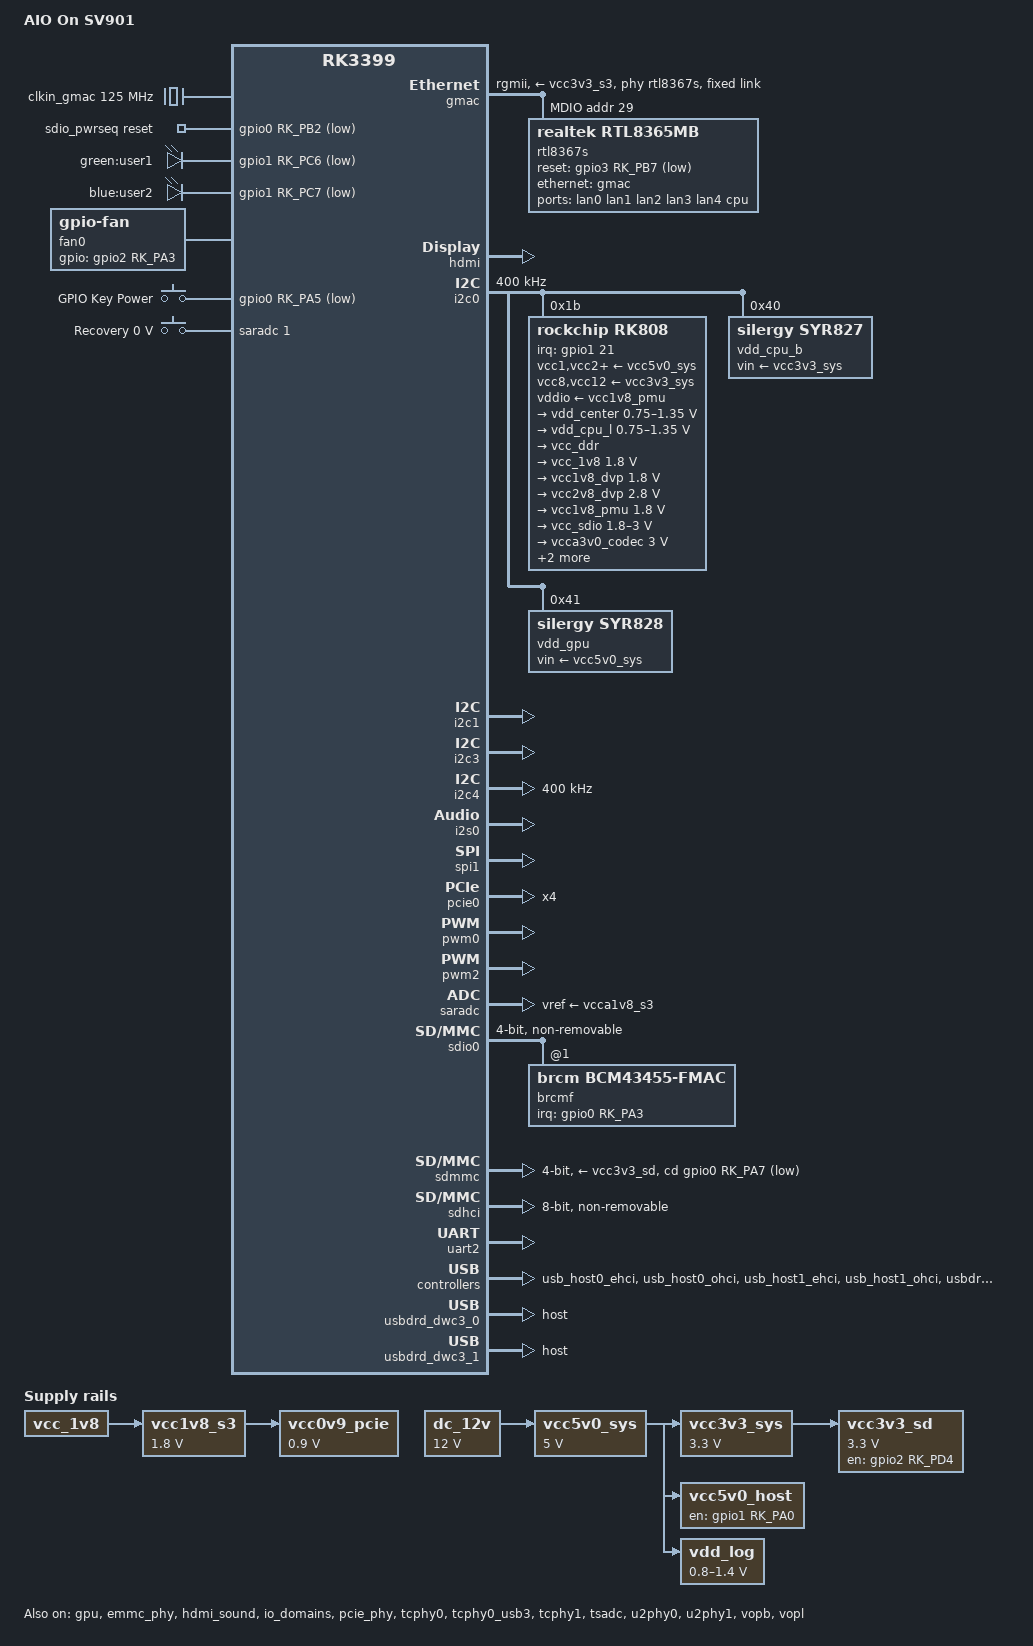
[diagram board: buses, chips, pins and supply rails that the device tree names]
// SPDX-License-Identifier: (GPL-2.0+ OR MIT)
/dts-v1/;

#include <dt-bindings/pwm/pwm.h>
#include <dt-bindings/input/input.h>
#include <dt-bindings/usb/pd.h>
#include "rk3399.dtsi"

/ {
	model = "AIO On SV901";
	compatible = "rockchip,rk3399";

	aliases {
		ethernet0 = &gmac;
		mmc0 = &sdio0;
		mmc1 = &sdmmc;
		mmc2 = &sdhci;
	};

	chosen {
		stdout-path = "serial2:1500000n8";
	};

	clkin_gmac: external-gmac-clock {
		compatible = "fixed-clock";
		clock-frequency = <125000000>;
		clock-output-names = "clkin_gmac";
		#clock-cells = <0>;
	};

	dc_12v: regulator-dc-12v {
		compatible = "regulator-fixed";
		regulator-name = "dc_12v";
		regulator-always-on;
		regulator-boot-on;
		regulator-min-microvolt = <12000000>;
		regulator-max-microvolt = <12000000>;
	};

	sdio_pwrseq: sdio-pwrseq {
		compatible = "mmc-pwrseq-simple";
		clocks = <&rk808 1>;
		clock-names = "ext_clock";
		pinctrl-names = "default";
		pinctrl-0 = <&wifi_reg_on_h>;
		reset-gpios = <&gpio0 RK_PB2 GPIO_ACTIVE_LOW>; // sch verify
	};

	/* switched by pmic_sleep */
	vcc1v8_s3: vcca1v8_s3: regulator-vcc1v8-s3 {
		compatible = "regulator-fixed";
		regulator-name = "vcc1v8_s3";
		regulator-always-on;
		regulator-boot-on;
		regulator-min-microvolt = <1800000>;
		regulator-max-microvolt = <1800000>;
		vin-supply = <&vcc_1v8>;
	};

	// fixed pcie power_supply
	vcc0v9_pcie: regulator-vcc0v9-pcie {
		compatible = "regulator-fixed";
		regulator-min-microvolt = <900000>;
		regulator-max-microvolt = <900000>;
		regulator-name = "vcc0v9_pcie";
		vin-supply = <&vcc1v8_s3>;
	};

	vcc3v3_sd: regulator-vcc3v0-sd {
		compatible = "regulator-fixed";
		enable-active-high;
		gpio = <&gpio2 RK_PD4 GPIO_ACTIVE_HIGH>; // sch verify
		pinctrl-names = "default";
		pinctrl-0 = <&sdmmc0_pwr_h>;
		regulator-boot-on;
		regulator-max-microvolt = <3300000>;
		regulator-min-microvolt = <3300000>;
		regulator-name = "vcc3v3_sd";
		vin-supply = <&vcc3v3_sys>;
	};

	// 3.3v output by core board.
	vcc3v3_sys: regulator-vcc3v3-sys {
		compatible = "regulator-fixed";
		regulator-name = "vcc3v3_sys";
		regulator-always-on;
		regulator-boot-on;
		regulator-min-microvolt = <3300000>;
		regulator-max-microvolt = <3300000>;
		vin-supply = <&vcc5v0_sys>;
	};

	vcc5v0_host: regulator-vcc5v0-host {
		compatible = "regulator-fixed";
		enable-active-high;
		gpio = <&gpio1 RK_PA0 GPIO_ACTIVE_HIGH>; // bsp
		pinctrl-names = "default";
		pinctrl-0 = <&vcc5v0_host_en>;
		regulator-name = "vcc5v0_host";
		regulator-always-on;
		vin-supply = <&vcc5v0_sys>;
	};

	vcc5v0_sys: regulator-vcc5v0-sys {
		compatible = "regulator-fixed";
		regulator-name = "vcc5v0_sys";
		regulator-always-on;
		regulator-boot-on;
		regulator-min-microvolt = <5000000>;
		regulator-max-microvolt = <5000000>;
		vin-supply = <&dc_12v>;
	};

	vdd_log: vdd-log {
		compatible = "pwm-regulator";
		pwms = <&pwm2 0 25000 1>;
		regulator-name = "vdd_log";
		regulator-always-on;
		regulator-boot-on;
		regulator-min-microvolt = <800000>;
		regulator-max-microvolt = <1400000>;
		vin-supply = <&vcc5v0_sys>;
	};

	leds: gpio-leds {
		compatible = "gpio-leds";
		pinctrl-names = "default";
		pinctrl-0 = <&user_led1>, <&user_led2>;

		user_led1 {
			label = "green:user1";
			gpios = <&gpio1 RK_PC6 GPIO_ACTIVE_LOW>;
			linux,default-trigger = "heartbeat";
		};

		user_led2 {
			label = "blue:user2";
			gpios = <&gpio1 RK_PC7 GPIO_ACTIVE_LOW>;
			linux,default-trigger = "mmc2";
		};
	};

	fan0: gpio-fan {
		#cooling-cells = <2>;
		compatible = "gpio-fan";
		gpio-fan,speed-map = <0 0 3000 1>;
		gpios = <&gpio2 RK_PA3 GPIO_ACTIVE_HIGH>; // sch
		status = "okay";
	};

	gpio-keys {
		compatible = "gpio-keys";
		autorepeat;
		pinctrl-names = "default";
		pinctrl-0 = <&power_key>;

		key-power {
			debounce-interval = <100>;
			gpios = <&gpio0 RK_PA5 GPIO_ACTIVE_LOW>;
			label = "GPIO Key Power";
			linux,code = <KEY_POWER>;
			wakeup-source;
		};
	};

	adc-keys {
		compatible = "adc-keys";
		io-channels = <&saradc 1>;
		io-channel-names = "buttons";
		keyup-threshold-microvolt = <1750000>;
		poll-interval = <100>;

		recovery {
			label = "Recovery";
			linux,code = <KEY_VENDOR>;
			press-threshold-microvolt = <0>;
		};
	};

};

&cpu_l0 {
	cpu-supply = <&vdd_cpu_l>;
};

&cpu_l1 {
	cpu-supply = <&vdd_cpu_l>;
};

&cpu_l2 {
	cpu-supply = <&vdd_cpu_l>;
};

&cpu_l3 {
	cpu-supply = <&vdd_cpu_l>;
};

&cpu_b0 {
	cpu-supply = <&vdd_cpu_b>;
};

&cpu_b1 {
	cpu-supply = <&vdd_cpu_b>;
};

&gpu {
	mali-supply = <&vdd_gpu>;
	status = "okay";
};

&cpu_thermal { // verify
	trips {
		cpu_hot: cpu_hot {
			hysteresis = <10000>;
			temperature = <55000>;
			type = "active";
		};
	};

	cooling-maps {
		map2 {
			cooling-device = <&fan0 THERMAL_NO_LIMIT THERMAL_NO_LIMIT>;
			trip = <&cpu_hot>;
		};
	};
};

&emmc_phy {
	status = "okay";
};

&gmac {
	assigned-clocks = <&cru SCLK_RMII_SRC>;
	// assigned-clock-parents = <&clkin_gmac>;
	// clock_in_out = "input";
	phy-supply = <&vcc3v3_s3>;
	phy-mode = "rgmii";
	phy-handle = <&rtl8367s>;
	pinctrl-names = "default";
	pinctrl-0 = <&rgmii_pins>;
	tx_delay = <0x28>;
	rx_delay = <0x11>;
	status = "okay";

	assigned-clock-parents = <&cru SCLK_MAC>;
	assigned-clock-rates = <125000000>;
	clock_in_out = "output";
	// snps,reset-gpio = <&gpio3 RK_PB7 GPIO_ACTIVE_LOW>;
	// snps,reset-active-low;
	// snps,reset-delays-us = <0 20000 100000>;

	fixed-link {
		speed = <1000>;
		full-duplex;
	};

	mdio {
		compatible = "snps,dwmac-mdio";
		#address-cells = <1>;
		#size-cells = <0>;

		rtl8367s: switch@29 {
			compatible = "realtek,rtl8365mb";
			reg = <29>;
			// mdc-gpios = <&gpio3 RK_PB0 GPIO_ACTIVE_HIGH>; // not require
			// mdio-gpios = <&gpio3 RK_PB5 GPIO_ACTIVE_HIGH>; // not require
			reset-gpios = <&gpio3 RK_PB7 GPIO_ACTIVE_LOW>;

			switch_intc3: interrupt-controller {
				interrupt-parent = <&gpio3>;
				interrupts = <RK_PB2 IRQ_TYPE_LEVEL_LOW>; // not connect
				interrupt-controller;
				#address-cells = <0>;
				#interrupt-cells = <1>;
			};

			ports {
				#address-cells = <1>;
				#size-cells = <0>;

				port@0 {
					reg = <0>;
					label = "lan0";
				};

				port@1 {
					reg = <1>;
					label = "lan1";
				};

				port@2 {
					reg = <2>;
					label = "lan2";
				};

				port@3 {
					reg = <3>;
					label = "lan3";
				};

				port@4 {
					reg = <4>;
					label = "lan4";
				};

				port@7 {
					reg = <7>;
					label = "cpu";
					ethernet = <&gmac>;
					phy-mode = "rgmii";
					tx-internal-delay-ps = <2000>;
					rx-internal-delay-ps = <0>;

					fixed-link {
						speed = <1000>;
						full-duplex;
					};
				};
			};
		};
	};
};

&hdmi {
	ddc-i2c-bus = <&i2c3>;
	pinctrl-names = "default";
	pinctrl-0 = <&hdmi_cec>; // sch verify
	status = "okay";
};

&hdmi_sound {
	status = "okay";
};

&i2c0 {
	clock-frequency = <400000>;
	i2c-scl-rising-time-ns = <168>;
	i2c-scl-falling-time-ns = <4>;
	status = "okay";

	rk808: pmic@1b {
		compatible = "rockchip,rk808";
		reg = <0x1b>;
		interrupt-parent = <&gpio1>;
		interrupts = <21 IRQ_TYPE_LEVEL_LOW>;
		#clock-cells = <1>;
		clock-output-names = "xin32k", "rk808-clkout2";
		pinctrl-names = "default";
		pinctrl-0 = <&pmic_int_l>;
		system-power-controller;
		wakeup-source;

		vcc1-supply = <&vcc5v0_sys>;
		vcc2-supply = <&vcc5v0_sys>;
		vcc3-supply = <&vcc5v0_sys>;
		vcc4-supply = <&vcc5v0_sys>;
		vcc6-supply = <&vcc5v0_sys>;
		vcc7-supply = <&vcc5v0_sys>;
		vcc8-supply = <&vcc3v3_sys>;
		vcc9-supply = <&vcc5v0_sys>;
		vcc10-supply = <&vcc5v0_sys>;
		vcc11-supply = <&vcc5v0_sys>;
		vcc12-supply = <&vcc3v3_sys>;
		vddio-supply = <&vcc1v8_pmu>;

		regulators {
			vdd_center: DCDC_REG1 {
				regulator-name = "vdd_center";
				regulator-always-on;
				regulator-boot-on;
				regulator-min-microvolt = <750000>;
				regulator-max-microvolt = <1350000>;
				regulator-ramp-delay = <6001>;
				regulator-state-mem {
					regulator-off-in-suspend;
				};
			};

			vdd_cpu_l: DCDC_REG2 {
				regulator-name = "vdd_cpu_l";
				regulator-always-on;
				regulator-boot-on;
				regulator-min-microvolt = <750000>;
				regulator-max-microvolt = <1350000>;
				regulator-ramp-delay = <6001>;
				regulator-state-mem {
					regulator-off-in-suspend;
				};
			};

			vcc_ddr: DCDC_REG3 {
				regulator-name = "vcc_ddr";
				regulator-always-on;
				regulator-boot-on;
				regulator-state-mem {
					regulator-on-in-suspend;
				};
			};

			vcc_1v8: DCDC_REG4 {
				regulator-name = "vcc_1v8";
				regulator-always-on;
				regulator-boot-on;
				regulator-min-microvolt = <1800000>;
				regulator-max-microvolt = <1800000>;
				regulator-state-mem {
					regulator-on-in-suspend;
					regulator-suspend-microvolt = <1800000>;
				};
			};

			vcc1v8_dvp: LDO_REG1 {
				regulator-name = "vcc1v8_dvp";
				regulator-always-on;
				regulator-boot-on;
				regulator-min-microvolt = <1800000>;
				regulator-max-microvolt = <1800000>;
				regulator-state-mem {
					regulator-off-in-suspend;
				};
			};

			vcc2v8_dvp: LDO_REG2 {
				regulator-always-on;
				regulator-boot-on;
				regulator-min-microvolt = <2800000>;
				regulator-max-microvolt = <2800000>;
				regulator-name = "vcc2v8_dvp";

				regulator-state-mem {
					regulator-off-in-suspend;
				};
			};

			vcc1v8_pmu: LDO_REG3 {
				regulator-name = "vcc1v8_pmu";
				regulator-always-on;
				regulator-boot-on;
				regulator-min-microvolt = <1800000>;
				regulator-max-microvolt = <1800000>;
				regulator-state-mem {
					regulator-on-in-suspend;
					regulator-suspend-microvolt = <1800000>;
				};
			};

			vcc_sdio: LDO_REG4 {
				regulator-name = "vcc_sdio";
				regulator-always-on;
				regulator-boot-on;
				regulator-min-microvolt = <1800000>;
				regulator-max-microvolt = <3000000>;
				regulator-state-mem {
					regulator-on-in-suspend;
					regulator-suspend-microvolt = <3000000>;
				};
			};

			vcca3v0_codec: LDO_REG5 {
				regulator-name = "vcca3v0_codec";
				regulator-always-on;
				regulator-boot-on;
				regulator-min-microvolt = <3000000>;
				regulator-max-microvolt = <3000000>;
				regulator-state-mem {
					regulator-off-in-suspend;
				};
			};

			vcc_1v5: LDO_REG6 {
				regulator-name = "vcc_1v5";
				regulator-always-on;
				regulator-boot-on;
				regulator-min-microvolt = <1500000>;
				regulator-max-microvolt = <1500000>;
				regulator-state-mem {
					regulator-on-in-suspend;
					regulator-suspend-microvolt = <1500000>;
				};
			};

			vcca1v8_codec: LDO_REG7 {
				regulator-name = "vcca1v8_codec";
				regulator-always-on;
				regulator-boot-on;
				regulator-min-microvolt = <1800000>;
				regulator-max-microvolt = <1800000>;
				regulator-state-mem {
					regulator-off-in-suspend;
				};
			};

			vcc_3v0: LDO_REG8 {
				regulator-name = "vcc_3v0";
				regulator-always-on;
				regulator-boot-on;
				regulator-min-microvolt = <3000000>;
				regulator-max-microvolt = <3000000>;
				regulator-state-mem {
					regulator-on-in-suspend;
					regulator-suspend-microvolt = <3000000>;
				};
			};

			vcc3v3_s3: vcc_lan: SWITCH_REG1 {
				regulator-name = "vcc3v3_s3";
				regulator-always-on;
				regulator-boot-on;
				regulator-state-mem {
					regulator-off-in-suspend;
				};
			};

			vcc3v3_s0: SWITCH_REG2 {
				regulator-name = "vcc3v3_s0";
				regulator-always-on;
				regulator-boot-on;
				regulator-state-mem {
					regulator-off-in-suspend;
				};
			};
		};
	};

	vdd_cpu_b: regulator@40 {
		compatible = "silergy,syr827";
		reg = <0x40>;
		fcs,suspend-voltage-selector = <1>;
		pinctrl-names = "default";
		pinctrl-0 = <&cpu_b_sleep>;
		regulator-name = "vdd_cpu_b";
		regulator-min-microvolt = <712500>;
		regulator-max-microvolt = <1500000>;
		regulator-ramp-delay = <1000>;
		regulator-always-on;
		regulator-boot-on;
		vin-supply = <&vcc3v3_sys>;

		regulator-state-mem {
			regulator-off-in-suspend;
		};
	};

	vdd_gpu: regulator@41 {
		compatible = "silergy,syr828";
		reg = <0x41>;
		fcs,suspend-voltage-selector = <1>;
		pinctrl-names = "default";
		pinctrl-0 = <&gpu_sleep>;
		regulator-name = "vdd_gpu";
		regulator-min-microvolt = <712500>;
		regulator-max-microvolt = <1500000>;
		regulator-ramp-delay = <1000>;
		regulator-always-on;
		regulator-boot-on;
		vin-supply = <&vcc5v0_sys>;

		regulator-state-mem {
			regulator-off-in-suspend;
		};
	};
};

&i2c1 {
	i2c-scl-rising-time-ns = <450>;
	i2c-scl-falling-time-ns = <15>;
	status = "okay";
};

// Used for HDMI
&i2c3 {
	i2c-scl-rising-time-ns = <450>;
	i2c-scl-falling-time-ns = <15>;
	status = "okay";
};

&i2c4 {
	clock-frequency = <400000>;
	i2c-scl-rising-time-ns = <450>;
	i2c-scl-falling-time-ns = <15>;
	status = "okay";
};

&i2s0 {
	rockchip,playback-channels = <8>;
	rockchip,capture-channels = <8>;
	status = "okay";
};

&spi1 {
	status = "okay";
	pinctrl-names = "default";
	pinctrl-0 = <&spi1_clk &spi1_tx &spi1_cs0>;
	//cs-gpios = <&gpio1 RK_PB2 GPIO_ACTIVE_HIGH>; /*SPI-CS:PC3 and PA6*/
	st7789v@0 {
		status = "disabled";
		compatible = "sitronix,st7789v";
		reg = <0>;
		spi-max-frequency = <12000000>;
		bgr;
		fps = <30>;
		rotate = <90>;
		buswidth = <8>; 
		dc-gpios = <&gpio1 RK_PA7 GPIO_ACTIVE_HIGH>;
		reset-gpios = <&gpio1 RK_PA3 GPIO_ACTIVE_LOW>;
		//led-gpios = <&gpio1 RK_PC1 GPIO_ACTIVE_HIGH>;
		debug = <0>; //等级0～7 越高信息越多
	};
	panel@0 {
		compatible = "sitronix,st7789v";
		reg = <0>;
		dc-gpios = <&gpio1 RK_PA7 GPIO_ACTIVE_HIGH>;  
		reset-gpios = <&gpio1 RK_PA3 GPIO_ACTIVE_LOW>;
		spi-max-frequency = <15000000>;
		spi-cs-high;
		status = "disabled";
	};
};

&io_domains {
	status = "okay";

	bt656-supply = <&vcc1v8_dvp>;
	audio-supply = <&vcca1v8_codec>;
	sdmmc-supply = <&vcc_sdio>;
	gpio1830-supply = <&vcc_3v0>;
};

&pmu_io_domains {
	status = "okay";
	pmu1830-supply = <&vcc_3v0>;
};

&pcie_phy {
	assigned-clock-parents = <&cru SCLK_PCIEPHY_REF100M>;
	assigned-clock-rates = <100000000>;
	assigned-clocks = <&cru SCLK_PCIEPHY_REF>;
	status = "okay";
};

&pcie0 {
	ep-gpios = <&gpio4 RK_PD1 GPIO_ACTIVE_HIGH>; // sch verify
	num-lanes = <4>;
	pinctrl-names = "default";
	pinctrl-0 = <&pcie_clkreqn_cpm>;
	status = "okay";
	vpcie0v9-supply = <&vcc0v9_pcie>;
	vpcie1v8-supply = <&vcca1v8_s3>;
};

&rgmii_pins {
	rockchip,pins =
		/* mac_txclk */
		<3 RK_PC1 1 &pcfg_pull_none_19ma>,
		/* mac_rxclk */
		<3 RK_PB6 1 &pcfg_pull_none>,
		/* mac_mdio */
		<3 RK_PB5 1 &pcfg_pull_none>,
		/* mac_txen */
		<3 RK_PB4 1 &pcfg_pull_none_26ma>,
		/* mac_clk */
		<3 RK_PB3 1 &pcfg_pull_none>,
		/* mac_rxdv */
		<3 RK_PB1 1 &pcfg_pull_none>,
		/* mac_mdc */
		<3 RK_PB0 1 &pcfg_pull_none>,
		/* mac_rxd1 */
		<3 RK_PA7 1 &pcfg_pull_none>,
		/* mac_rxd0 */
		<3 RK_PA6 1 &pcfg_pull_none>,
		/* mac_txd1 */
		<3 RK_PA5 1 &pcfg_pull_none_26ma>,
		/* mac_txd0 */
		<3 RK_PA4 1 &pcfg_pull_none_26ma>,
		/* mac_rxd3 */
		<3 RK_PA3 1 &pcfg_pull_none>,
		/* mac_rxd2 */
		<3 RK_PA2 1 &pcfg_pull_none>,
		/* mac_txd3 */
		<3 RK_PA1 1 &pcfg_pull_none_26ma>,
		/* mac_txd2 */
		<3 RK_PA0 1 &pcfg_pull_none_26ma>;
};

&sdio0_bus4 {
	rockchip,pins =
		<2 RK_PC4 1 &pcfg_pull_up_15ma>,
		<2 RK_PC5 1 &pcfg_pull_up_15ma>,
		<2 RK_PC6 1 &pcfg_pull_up_15ma>,
		<2 RK_PC7 1 &pcfg_pull_up_15ma>;
};
&sdio0_cmd {
	rockchip,pins =
		<2 RK_PD0 1 &pcfg_pull_up_15ma>;
};
&sdio0_clk {
	rockchip,pins =
		<2 RK_PD1 1 &pcfg_pull_none_15ma>;
};

&pinctrl {
	pcfg_pull_up_15ma: pcfg-pull-up_15ma {
		bias-pull-up;
		drive-strength = <15>;
	};
	pcfg_pull_none_19ma: pcfg-pull-none-19ma {
		bias-disable;
		drive-strength = <19>;
	};
	pcfg_pull_none_26ma: pcfg-pull-none-26ma {
		bias-disable;
		drive-strength = <26>;
	};
	pcfg_pull_none_15ma: pcfg-pull-none-15ma {
		bias-disable;
		drive-strength = <15>;
	};
	pmic {
		cpu_b_sleep: cpu-b-sleep {
			rockchip,pins = <1 RK_PC1 RK_FUNC_GPIO &pcfg_pull_down>;
		};

		gpu_sleep: gpu-sleep {
			rockchip,pins = <1 RK_PB6 RK_FUNC_GPIO &pcfg_pull_down>;
		};

		pmic_int_l: pmic-int-l {
			rockchip,pins = <1 RK_PC5 RK_FUNC_GPIO &pcfg_pull_up>;
		};
	};

	sd {
		sdmmc0_pwr_h: sdmmc0-pwr-h {
			rockchip,pins =
				<2 RK_PD4 RK_FUNC_GPIO &pcfg_pull_none>; // sch verify
		};
	};

	usb2 {
		vcc5v0_host_en: vcc5v0-host-en {
			rockchip,pins =
				<1 RK_PA0 RK_FUNC_GPIO &pcfg_pull_none>; // sch
		};
	};

	sdio-pwrseq {
		wifi_reg_on_h: wifi-reg-on-h {
			rockchip,pins = <0 RK_PB2 RK_FUNC_GPIO &pcfg_pull_none>; // sch
		};
	};

	wifi {
		wifi_host_wake_l: wifi-host-wake-l {
			rockchip,pins = <0 RK_PA3 RK_FUNC_GPIO &pcfg_pull_none>;
		};
	};

	leds {
		user_led1: user_led1 {
			rockchip,pins =
				<1 RK_PC6 RK_FUNC_GPIO &pcfg_pull_none>; // sch
		};

		user_led2: user_led2 {
			rockchip,pins =
				<1 RK_PC7 RK_FUNC_GPIO &pcfg_pull_none>; // sch
		};
	};

	buttons {
		power_key: power_key {
			rockchip,pins = 
				<0 RK_PA5 RK_FUNC_GPIO &pcfg_pull_up>; // bsp
		};
	};
};

&pwm0 {
	status = "okay";
};

&pwm2 {
	status = "okay";
};

&saradc {
	vref-supply = <&vcca1v8_s3>;
	status = "okay";
};

&sdio0 {
	bus-width = <4>;
	cap-sd-highspeed;
	cap-sdio-irq;
	clock-frequency = <50000000>;
	disable-wp;
	keep-power-in-suspend;
	max-frequency = <50000000>;
	mmc-pwrseq = <&sdio_pwrseq>;
	non-removable;
	pinctrl-names = "default";
	pinctrl-0 = <&sdio0_bus4 &sdio0_cmd &sdio0_clk>;
	sd-uhs-sdr104;
	#address-cells = <1>;
	#size-cells = <0>;
	status = "okay";

	brcmf: wifi@1 {
		reg = <1>;
		compatible = "brcm,bcm43455-fmac";
		interrupt-parent = <&gpio0>;
		interrupts = <RK_PA3 IRQ_TYPE_LEVEL_HIGH>; // verify
		interrupt-names = "host-wake";
		pinctrl-names = "default";
		pinctrl-0 = <&wifi_host_wake_l>;
	};
};

&sdmmc {
	bus-width = <4>;
	cap-mmc-highspeed;
	cap-sd-highspeed;
	cd-gpios = <&gpio0 RK_PA7 GPIO_ACTIVE_LOW>; //bsp
	clock-frequency = <150000000>;
	disable-wp;
	max-frequency = <150000000>;
	pinctrl-names = "default";
	pinctrl-0 = <&sdmmc_clk &sdmmc_cmd &sdmmc_cd &sdmmc_bus4>;
	vmmc-supply = <&vcc3v3_sd>;
	// vqmmc-supply = <&vcc_sdio>;
	card-detect-delay = <800>;
	status = "okay";
};

&sdhci {
	bus-width = <8>;
	mmc-hs400-1_8v;
	mmc-hs400-enhanced-strobe;
	keep-power-in-suspend;
	non-removable;
	status = "okay";
};


&tcphy0 {
	status = "okay";
};

&tcphy0_usb3 {
	status = "okay";
};

&tcphy1 {
	status = "okay";
};

&tsadc {
	/* tshut mode 0:CRU 1:GPIO */
	rockchip,hw-tshut-mode = <1>;
	/* tshut polarity 0:LOW 1:HIGH */
	rockchip,hw-tshut-polarity = <1>;
	status = "okay";
};

&u2phy0 {
	status = "okay";

	u2phy0_otg: otg-port {
		status = "okay";
	};

	u2phy0_host: host-port {
		status = "okay";
	};
};

&u2phy1 {
	status = "okay";

	u2phy1_otg: otg-port {
		status = "okay";
	};

	u2phy1_host: host-port {
		status = "okay";
	};
};

// Debug TTL
&uart2 {
	status = "okay";
};

&usb_host0_ehci {
	status = "okay";
};

&usb_host0_ohci {
	status = "okay";
};

&usb_host1_ehci {
	status = "okay";
};

&usb_host1_ohci {
	status = "okay";
};

&usbdrd3_0 {
	status = "okay";
};

&usbdrd_dwc3_0 {
	status = "okay";
	dr_mode = "host";
};

&usbdrd3_1 {
	status = "okay";
};

&usbdrd_dwc3_1 {
	status = "okay";
	dr_mode = "host";
};

&vopb {
	status = "okay";
};

&vopb_mmu {
	status = "okay";
};

&vopl {
	status = "okay";
};

&vopl_mmu {
	status = "okay";
};

&iep_mmu {
	status = "okay";
};
